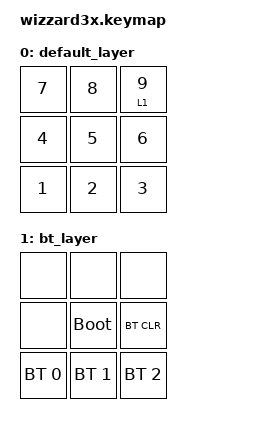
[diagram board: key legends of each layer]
#include <behaviors.dtsi>
#include <dt-bindings/zmk/keys.h>
#include <dt-bindings/zmk/bt.h>

/ {
	keymap {
		compatible = "zmk,keymap";

		default_layer {
			bindings = <
				&kp N7			&kp N8		&lt 1 N9
				&kp N4			&kp N5		&kp N6
				&kp N1			&kp N2		&kp N3
			>;
		};

		bt_layer {
			bindings = <
				&none			&none			&none
				&none			&bootloader		&bt BT_CLR
				&bt BT_SEL 0	&bt BT_SEL 1 	&bt BT_SEL 2
			>;
		};
	};
};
